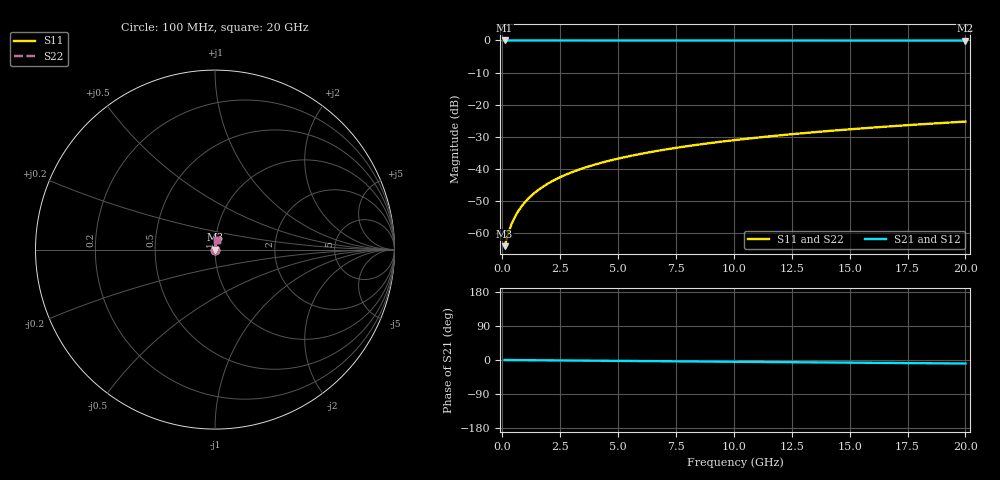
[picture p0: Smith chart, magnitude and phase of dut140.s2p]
! Touchstone file exported from HFSS 2026.1.0
!  File:  C:/ffzhzh/LocalFiles/Ansys_Project_Files/temp_train_TSV_140_1782990352_42984.aedt
!  Generated:  07:08:06 PM Jul  2, 2026
!  Design:  TSV
!  Project:  temp_train_TSV_140_1782990352_42984
! Variables:
!  h_bsmrdl = 2um
!  h_ox = 20um
!  h_rdl = 5um
!  h_sub = 90.9um
!  h_tmrdl = 5um
!  h_tsv = 90.9um
!  h_via = 3um
!  l_bsmrdl = 300um
!  l_sub = 408.98um
!  l_tmrdl = 200um
!  m_sub = 200um
!  pitch = 30.49um
!  r_tsv = 4.49um
!  s_tmrdl = 10um
!  w_bsmrdl = 18um
!  w_sub = 500um
!  w_tmrdl = 12um
!  x_tsv_center1 = 206um
!  x_tsv_center2 = 524um
!  x_tsv_center3 = 736um
!  x_tsv_center4 = 1054um
!  x_tsv_center5 = 1266um
!  x_tsv_center6 = 1584um
# GHz S MA R 50.000000
! Terminal data exported
! Port[1] = TSV1_1_T1
! Port[2] = TSV1_1_T2
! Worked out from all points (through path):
!   200 points, 100 MHz to 20 GHz, reference 50 ohm
!   highest |S21| = 0.00 dB at 100 MHz (marker M1); lowest = 0.0 dB at 20 GHz (marker M2)
!   group delay of S21, straight-line fit = 1.28 ps
!   lowest |S11| = -64.0 dB at 100 MHz (marker M3), VSWR 1.00, Z = 50.1 + j0.0323 ohm
!   |S11| at or under -10 dB: start of sweep to end of sweep
!   |S22| runs from -64.0 to -25.2 dB; largest |S21 - S12| = 3.6e-15
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0.1  0.0006341 30.6  0.9995 -0.0  0.9995 -0.0  0.0006341 30.6
! Gamma 0 0 0 0
! Port Impedance 50 0 50 0
0.2  0.0008504 48.9  0.9994 -0.1  0.9994 -0.1  0.0008504 48.9
0.3  0.001114 58.8  0.9994 -0.1  0.9994 -0.1  0.001114 58.8
0.4  0.001393 64.6  0.9994 -0.2  0.9994 -0.2  0.001393 64.6
0.5  0.001677 68.4  0.9994 -0.2  0.9994 -0.2  0.001677 68.4
0.6  0.001964 71.1  0.9994 -0.3  0.9994 -0.3  0.001964 71.1
0.8  0.002542 74.7  0.9993 -0.4  0.9993 -0.4  0.002542 74.7
1.1  0.003414 77.8  0.9993 -0.5  0.9993 -0.5  0.003414 77.8
1.3  0.003997 79.0  0.9993 -0.6  0.9993 -0.6  0.003997 79.0
1.6  0.004874 80.3  0.9992 -0.8  0.9992 -0.8  0.004874 80.3
2.1  0.006331 81.5  0.9991 -1.0  0.9991 -1.0  0.006331 81.5
2.7  0.008067 82.1  0.999 -1.3  0.999 -1.3  0.008067 82.1
3.5  0.01035 82.5  0.9989 -1.7  0.9989 -1.7  0.01035 82.5
4.2  0.01233 82.5  0.9987 -2.0  0.9987 -2.0  0.01233 82.5
5  0.01456 82.5  0.9986 -2.4  0.9986 -2.4  0.01456 82.5
5.9  0.01704 82.3  0.9984 -2.8  0.9984 -2.8  0.01704 82.3
6.8  0.0195 82.2  0.9982 -3.2  0.9982 -3.2  0.0195 82.2
8.3  0.02357 81.9  0.998 -3.9  0.998 -3.9  0.02357 81.9
10.1  0.02843 81.4  0.9977 -4.7  0.9977 -4.7  0.02843 81.4
13.4  0.03729 80.4  0.9971 -6.2  0.9971 -6.2  0.03729 80.4
16.7  0.04609 79.2  0.9965 -7.7  0.9965 -7.7  0.04609 79.2
20  0.0548 77.9  0.9958 -9.3  0.9958 -9.3  0.0548 77.9
